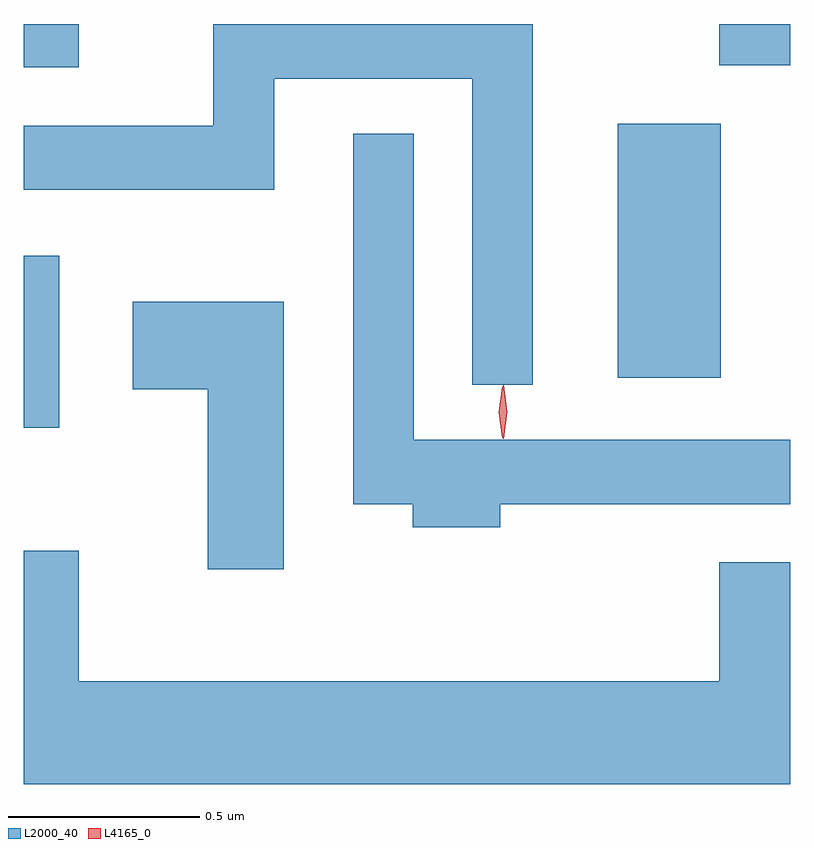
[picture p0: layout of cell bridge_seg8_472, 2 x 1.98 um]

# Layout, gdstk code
import gdstk
lib = gdstk.Library(unit=1e-6, precision=1e-09)
def R(c, l, rs):  # rectangles x0, y0, x1, y1
    for r in rs: c.add(gdstk.rectangle(r[:2], r[2:], *l))
def P(c, l, *ps):  # polygons
    for p in ps: c.add(gdstk.Polygon(p, *l))
L2000_40 = (2000, 40)
L4165_0 = (4165, 0)

bridge_seg8_472 = lib.new_cell('bridge_seg8_472')
R(bridge_seg8_472, L2000_40, [(566.316,1935.026,566.409,1935.474), (567.866,1935.156,568.134,1935.819), (566.316,1935.966,566.459,1936.079), (568.131,1935.971,568.316,1936.079)])
P(bridge_seg8_472, L2000_40, [(567.644,1936.079),(566.811,1936.079),(566.811,1935.814),(566.316,1935.814),(566.316,1935.646),(566.969,1935.646),(566.969,1935.936),(567.486,1935.936),(567.486,1935.138),(567.644,1935.138)],
  [(567.559,1934.826),(568.316,1934.826),(568.316,1934.994),(567.334,1934.994),(567.334,1935.793),(567.176,1935.793),(567.176,1934.826),(567.331,1934.826),(567.331,1934.766),(567.559,1934.766)],
  [(566.994,1935.354),(566.601,1935.354),(566.601,1935.126),(566.796,1935.126),(566.796,1934.656),(566.994,1934.656)],
  [(568.316,1934.674),(568.131,1934.674),(568.131,1934.364),(566.459,1934.364),(566.459,1934.704),(566.316,1934.704),(566.316,1934.096),(568.316,1934.096)])
P(bridge_seg8_472, L4165_0, [(567.567,1934.997),(567.558,1935.067),(567.567,1935.136),(567.568,1935.136),(567.568,1935.136),(567.578,1935.067),(567.568,1934.997),(567.568,1934.997)],
  [(567.565,1935),(567.556,1935.066),(567.565,1935.132),(567.566,1935.133),(567.566,1935.132),(567.576,1935.066),(567.566,1935),(567.566,1935)])

lib.write_gds('bridge_seg8_472.gds')
